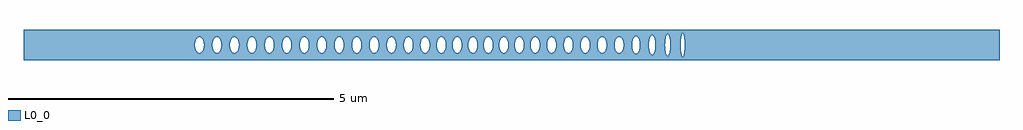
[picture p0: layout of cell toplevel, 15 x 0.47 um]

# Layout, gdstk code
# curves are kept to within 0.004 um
import gdstk
lib = gdstk.Library(unit=1e-6, precision=1e-09)
def P(c, l, *ps):  # polygons
    for p in ps: c.add(gdstk.Polygon(p, *l))
L0_0 = (0, 0)

toplevel = lib.new_cell('toplevel')
P(toplevel, L0_0, [(-4.328,0.016),(-4.313,0.079),(-4.313,0.235),(-7.5,0.235),(-7.5,-0.008),(-4.866,-0.008),(-4.864,0.031),(-4.85,0.079),(-4.829,0.109),(-4.8,0.124),(-4.769,0.115),(-4.744,0.085),(-4.728,0.038),(-4.725,-0.016),(-4.597,-0.016),(-4.594,0.038),(-4.584,0.073),(-4.561,0.109),(-4.531,0.124),(-4.505,0.118),(-4.475,0.085),(-4.461,0.046),(-4.456,0),(-4.461,-0.046),(-4.475,-0.085),(-4.493,-0.109),(-4.522,-0.124),(-4.549,-0.118),(-4.572,-0.096),(-4.589,-0.06),(-4.597,-0.016),(-4.725,-0.016),(-4.738,-0.073),(-4.75,-0.096),(-4.774,-0.118),(-4.8,-0.124),(-4.829,-0.109),(-4.847,-0.085),(-4.861,-0.046),(-4.866,-0.008),(-7.5,-0.008),(-7.5,-0.235),(-4.313,-0.235),(-4.313,-0.079),(-4.327,-0.031)],
  [(-3.791,0.016),(-3.783,0.06),(-3.763,0.1),(-3.735,0.122),(-3.708,0.122),(-3.708,0.235),(-4.313,0.235),(-4.313,0.079),(-4.296,0.105),(-4.272,0.122),(-4.245,0.122),(-4.224,0.109),(-4.197,0.06),(-4.188,-0.016),(-4.06,-0.016),(-4.057,0.038),(-4.047,0.073),(-4.024,0.109),(-3.994,0.124),(-3.968,0.118),(-3.938,0.085),(-3.924,0.046),(-3.919,0),(-3.924,-0.046),(-3.938,-0.085),(-3.956,-0.109),(-3.985,-0.124),(-4.012,-0.118),(-4.035,-0.096),(-4.052,-0.06),(-4.06,-0.016),(-4.188,-0.016),(-4.207,-0.085),(-4.224,-0.109),(-4.245,-0.122),(-4.263,-0.124),(-4.28,-0.118),(-4.313,-0.079),(-4.313,-0.235),(-3.708,-0.235),(-3.708,-0.122),(-3.726,-0.124),(-3.743,-0.118),(-3.77,-0.09),(-3.79,-0.031)],
  [(-3.254,0.016),(-3.25,0.046),(-3.233,0.09),(-3.218,0.109),(-3.189,0.124),(-3.163,0.118),(-3.139,0.096),(-3.117,0.038),(-3.117,0.235),(-3.708,0.235),(-3.708,0.122),(-3.687,0.109),(-3.664,0.073),(-3.654,0.038),(-3.651,-0.016),(-3.523,-0.016),(-3.52,0.038),(-3.51,0.073),(-3.487,0.109),(-3.457,0.124),(-3.431,0.118),(-3.408,0.096),(-3.391,0.06),(-3.382,0.008),(-3.387,-0.046),(-3.401,-0.085),(-3.419,-0.109),(-3.448,-0.124),(-3.475,-0.118),(-3.498,-0.096),(-3.515,-0.06),(-3.523,-0.016),(-3.651,-0.016),(-3.67,-0.085),(-3.687,-0.109),(-3.708,-0.122),(-3.708,-0.235),(-3.117,-0.235),(-3.117,-0.038),(-3.127,-0.073),(-3.15,-0.109),(-3.171,-0.122),(-3.197,-0.122),(-3.222,-0.105),(-3.239,-0.079),(-3.253,-0.031)],
  [(-3.115,-0.026),(-3.117,-0.235),(-2.438,-0.235),(-2.438,-0.066),(-2.449,-0.016),(-2.447,0.031),(-2.438,0.066),(-2.438,0.235),(-3.117,0.235),(-3.114,-0.016),(-2.986,-0.016),(-2.983,0.038),(-2.973,0.073),(-2.95,0.109),(-2.92,0.124),(-2.894,0.118),(-2.864,0.085),(-2.85,0.046),(-2.845,-0.008),(-2.718,-0.008),(-2.713,0.046),(-2.696,0.09),(-2.669,0.118),(-2.638,0.123),(-2.602,0.096),(-2.59,0.073),(-2.577,0.016),(-2.58,-0.038),(-2.59,-0.073),(-2.613,-0.109),(-2.634,-0.122),(-2.665,-0.12),(-2.692,-0.096),(-2.709,-0.06),(-2.718,-0.008),(-2.845,-0.008),(-2.85,-0.046),(-2.864,-0.085),(-2.882,-0.109),(-2.911,-0.124),(-2.938,-0.118),(-2.961,-0.096),(-2.978,-0.06),(-2.986,-0.016),(-3.114,-0.016)],
  [(-1.915,0.016),(-1.911,0.046),(-1.894,0.09),(-1.876,0.112),(-1.85,0.124),(-1.85,0.235),(-2.438,0.235),(-2.438,0.066),(-2.424,0.096),(-2.401,0.118),(-2.383,0.124),(-2.357,0.118),(-2.334,0.096),(-2.319,0.066),(-2.309,-0.016),(-2.181,-0.016),(-2.178,0.038),(-2.168,0.073),(-2.145,0.109),(-2.115,0.124),(-2.089,0.118),(-2.066,0.096),(-2.045,0.046),(-2.04,0),(-2.045,-0.046),(-2.06,-0.085),(-2.077,-0.109),(-2.106,-0.124),(-2.133,-0.118),(-2.156,-0.096),(-2.173,-0.06),(-2.181,-0.016),(-2.309,-0.016),(-2.327,-0.085),(-2.345,-0.109),(-2.374,-0.124),(-2.392,-0.122),(-2.413,-0.109),(-2.438,-0.067),(-2.438,-0.235),(-1.85,-0.235),(-1.85,-0.124),(-1.876,-0.112),(-1.903,-0.073),(-1.914,-0.031)],
  [(-1.85,0.235),(-1.85,0.124),(-1.824,0.118),(-1.794,0.085),(-1.78,0.046),(-1.775,-0.008),(-1.655,-0.008),(-1.653,0.031),(-1.639,0.079),(-1.618,0.109),(-1.589,0.124),(-1.563,0.118),(-1.539,0.096),(-1.519,0.046),(-1.514,0.008),(-1.517,-0.038),(-1.527,-0.073),(-1.55,-0.109),(-1.58,-0.124),(-1.606,-0.118),(-1.633,-0.09),(-1.65,-0.046),(-1.655,-0.008),(-1.775,-0.008),(-1.78,-0.046),(-1.797,-0.09),(-1.824,-0.118),(-1.85,-0.124),(-1.85,-0.235),(-1.269,-0.235),(-1.269,-0.067),(-1.295,-0.109),(-1.315,-0.122),(-1.342,-0.122),(-1.363,-0.109),(-1.38,-0.085),(-1.399,-0.016),(-1.396,0.038),(-1.386,0.073),(-1.374,0.096),(-1.355,0.115),(-1.333,0.124),(-1.307,0.118),(-1.284,0.096),(-1.269,0.066),(-1.269,0.235)],
  [(-1.26,-0.031),(-1.269,-0.066),(-1.269,-0.235),(-0.659,-0.235),(-0.659,-0.046),(-0.664,-0.016),(-0.659,0.235),(-1.269,0.235),(-1.269,0.065),(-1.259,0.023),(-1.259,-0.016),(-1.149,-0.016),(-1.146,0.038),(-1.136,0.073),(-1.113,0.109),(-1.092,0.122),(-1.065,0.122),(-1.034,0.096),(-1.013,0.046),(-1.008,0),(-0.905,0),(-0.896,0.06),(-0.872,0.105),(-0.838,0.124),(-0.821,0.122),(-0.8,0.109),(-0.772,0.06),(-0.764,-0.016),(-0.77,-0.053),(-0.783,-0.085),(-0.8,-0.109),(-0.821,-0.122),(-0.852,-0.12),(-0.879,-0.096),(-0.9,-0.046),(-0.905,0),(-1.008,0),(-1.013,-0.046),(-1.027,-0.085),(-1.045,-0.109),(-1.074,-0.124),(-1.1,-0.118),(-1.124,-0.096),(-1.136,-0.073),(-1.149,-0.016),(-1.259,-0.016)],
  [(-0.655,0.06),(-0.628,0.109),(-0.607,0.122),(-0.581,0.122),(-0.556,0.105),(-0.539,0.079),(-0.525,0.031),(-0.524,-0.016),(-0.426,-0.016),(-0.423,0.038),(-0.407,0.085),(-0.378,0.118),(-0.351,0.124),(-0.322,0.109),(-0.304,0.085),(-0.29,0.046),(-0.285,0),(-0.29,-0.046),(-0.304,-0.085),(-0.322,-0.109),(-0.351,-0.124),(-0.378,-0.118),(-0.401,-0.096),(-0.418,-0.06),(-0.426,-0.016),(-0.524,-0.016),(-0.528,-0.046),(-0.545,-0.09),(-0.56,-0.109),(-0.589,-0.124),(-0.607,-0.122),(-0.628,-0.109),(-0.651,-0.073),(-0.659,-0.046),(-0.659,-0.235),(-0.132,-0.235),(-0.132,-0.122),(-0.153,-0.109),(-0.17,-0.085),(-0.189,-0.016),(-0.186,0.038),(-0.176,0.073),(-0.153,0.109),(-0.132,0.122),(-0.132,0.235),(-0.659,0.235),(-0.659,0.046)],
  [(0.295,0.016),(0.31,0.079),(0.343,0.118),(0.36,0.124),(0.378,0.122),(0.399,0.109),(0.416,0.085),(0.416,0.235),(-0.132,0.235),(-0.132,0.122),(-0.114,0.124),(-0.097,0.118),(-0.07,0.09),(-0.05,0.031),(-0.049,-0.016),(0.05,-0.016),(0.053,0.038),(0.063,0.073),(0.086,0.109),(0.116,0.124),(0.142,0.118),(0.169,0.09),(0.186,0.046),(0.191,0.008),(0.189,-0.031),(0.175,-0.079),(0.154,-0.109),(0.125,-0.124),(0.099,-0.118),(0.075,-0.096),(0.063,-0.073),(0.05,-0.016),(-0.049,-0.016),(-0.057,-0.06),(-0.077,-0.1),(-0.105,-0.122),(-0.132,-0.122),(-0.132,-0.235),(0.416,-0.235),(0.416,-0.085),(0.399,-0.109),(0.378,-0.122),(0.352,-0.122),(0.331,-0.109),(0.303,-0.06)],
  [(0.434,-0.023),(0.416,-0.085),(0.416,-0.235),(1.064,-0.235),(1.064,0.235),(0.416,0.235),(0.416,0.085),(0.432,0.038),(0.435,-0.008),(0.546,-0.008),(0.551,0.046),(0.565,0.085),(0.595,0.118),(0.621,0.124),(0.651,0.109),(0.674,0.073),(0.684,0.038),(0.687,-0.016),(0.804,-0.016),(0.81,0.053),(0.829,0.096),(0.861,0.122),(0.896,0.118),(0.919,0.096),(0.934,0.066),(0.945,0),(0.931,-0.073),(0.912,-0.105),(0.892,-0.12),(0.861,-0.122),(0.836,-0.105),(0.812,-0.06),(0.804,-0.016),(0.687,-0.016),(0.674,-0.073),(0.662,-0.096),(0.643,-0.115),(0.621,-0.124),(0.595,-0.118),(0.568,-0.09),(0.551,-0.046),(0.546,-0.008),(0.435,-0.008)],
  [(1.065,0.031),(1.076,0.073),(1.095,0.105),(1.12,0.122),(1.138,0.124),(1.167,0.109),(1.185,0.085),(1.199,0.046),(1.203,-0.016),(1.322,-0.016),(1.325,0.038),(1.341,0.085),(1.366,0.115),(1.397,0.124),(1.426,0.109),(1.444,0.085),(1.458,0.046),(1.463,-0.008),(1.458,-0.046),(1.444,-0.085),(1.426,-0.109),(1.397,-0.124),(1.371,-0.118),(1.347,-0.096),(1.335,-0.073),(1.322,-0.016),(1.203,-0.016),(1.185,-0.085),(1.167,-0.109),(1.138,-0.124),(1.111,-0.118),(1.088,-0.096),(1.071,-0.06),(1.064,-0.026),(1.064,-0.235),(1.616,-0.235),(1.616,-0.105),(1.592,-0.06),(1.584,-0.016),(1.59,0.053),(1.616,0.105),(1.616,0.235),(1.064,0.235)],
  [(1.632,0.118),(1.667,0.122),(1.699,0.096),(1.72,0.046),(1.723,-0.017),(1.853,-0.017),(1.857,0.051),(1.869,0.095),(1.898,0.134),(1.925,0.136),(1.946,0.117),(1.965,0.074),(1.974,-0.017),(1.958,-0.095),(1.943,-0.121),(1.917,-0.138),(1.898,-0.134),(1.872,-0.101),(1.86,-0.067),(1.853,-0.017),(1.723,-0.017),(1.714,-0.066),(1.688,-0.109),(1.667,-0.122),(1.65,-0.124),(1.616,-0.105),(1.616,-0.235),(2.197,-0.235),(2.197,-0.111),(2.178,-0.145),(2.165,-0.152),(2.146,-0.145),(2.127,-0.111),(2.112,-0.028),(2.116,0.065),(2.127,0.111),(2.141,0.138),(2.156,0.151),(2.168,0.151),(2.184,0.138),(2.197,0.111),(2.197,0.235),(1.616,0.235),(1.616,0.105)],
  [(2.212,-0.028),(2.197,-0.111),(2.197,-0.235),(7.5,-0.235),(7.5,0.235),(2.197,0.235),(2.197,0.111),(2.208,0.065),(2.213,-0.01),(2.359,-0.01),(2.37,0.114),(2.38,0.145),(2.397,0.166),(2.413,0.158),(2.43,0.114),(2.439,0.051),(2.44,-0.023),(2.6,-0.023),(2.608,0.123),(2.619,0.167),(2.629,0.18),(2.637,0.177),(2.649,0.146),(2.661,0.045),(2.655,-0.115),(2.646,-0.158),(2.633,-0.18),(2.621,-0.171),(2.611,-0.139),(2.6,-0.023),(2.44,-0.023),(2.43,-0.114),(2.42,-0.145),(2.403,-0.166),(2.387,-0.158),(2.37,-0.114),(2.359,-0.01),(2.213,-0.01)])

lib.write_gds('toplevel.gds')
